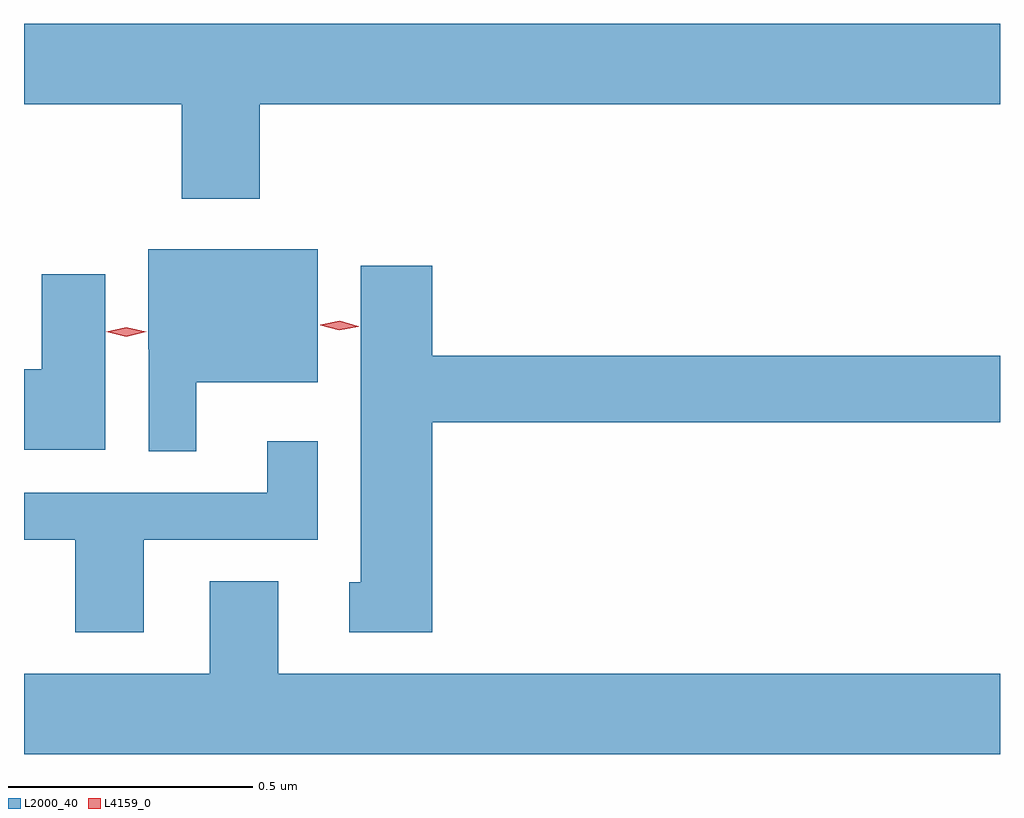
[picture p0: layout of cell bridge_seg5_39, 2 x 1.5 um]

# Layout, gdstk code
import gdstk
lib = gdstk.Library(unit=1e-6, precision=1e-09)
def P(c, l, *ps):  # polygons
    for p in ps: c.add(gdstk.Polygon(p, *l))
L2000_40 = (2000, 40)
L4159_0 = (4159, 0)

bridge_seg5_39 = lib.new_cell('bridge_seg5_39')
P(bridge_seg5_39, L2000_40, [(684.179,847.436),(685.696,847.436),(685.696,847.6),(683.696,847.6),(683.696,847.436),(684.019,847.436),(684.019,847.242),(684.179,847.242)],
  [(684.049,846.866),(684.298,846.866),(684.298,847.138),(683.951,847.138),(683.951,846.933),(683.952,846.933),(683.952,846.724),(684.049,846.724)],
  [(684.533,846.784),(685.696,846.784),(685.696,846.92),(684.533,846.92),(684.533,847.105),(684.386,847.105),(684.386,846.456),(684.362,846.456),(684.362,846.354),(684.533,846.354)],
  [(683.863,847.087),(683.732,847.087),(683.732,846.892),(683.696,846.892),(683.696,846.728),(683.863,846.728)],
  [(683.941,846.543),(684.298,846.543),(684.298,846.745),(684.194,846.745),(684.194,846.639),(683.696,846.639),(683.696,846.543),(683.801,846.543),(683.801,846.354),(683.941,846.354)],
  [(685.696,846.268),(684.217,846.268),(684.217,846.458),(684.077,846.458),(684.077,846.268),(683.696,846.268),(683.696,846.104),(685.696,846.104)])
P(bridge_seg5_39, L4159_0, [(684.342,846.972),(684.303,846.983),(684.303,846.984),(684.303,846.984),(684.343,846.992),(684.381,846.981),(684.382,846.981),(684.381,846.98)],
  [(683.906,846.959),(683.865,846.969),(683.865,846.969),(683.865,846.969),(683.906,846.979),(683.946,846.969),(683.946,846.969),(683.946,846.969)])

lib.write_gds('bridge_seg5_39.gds')
